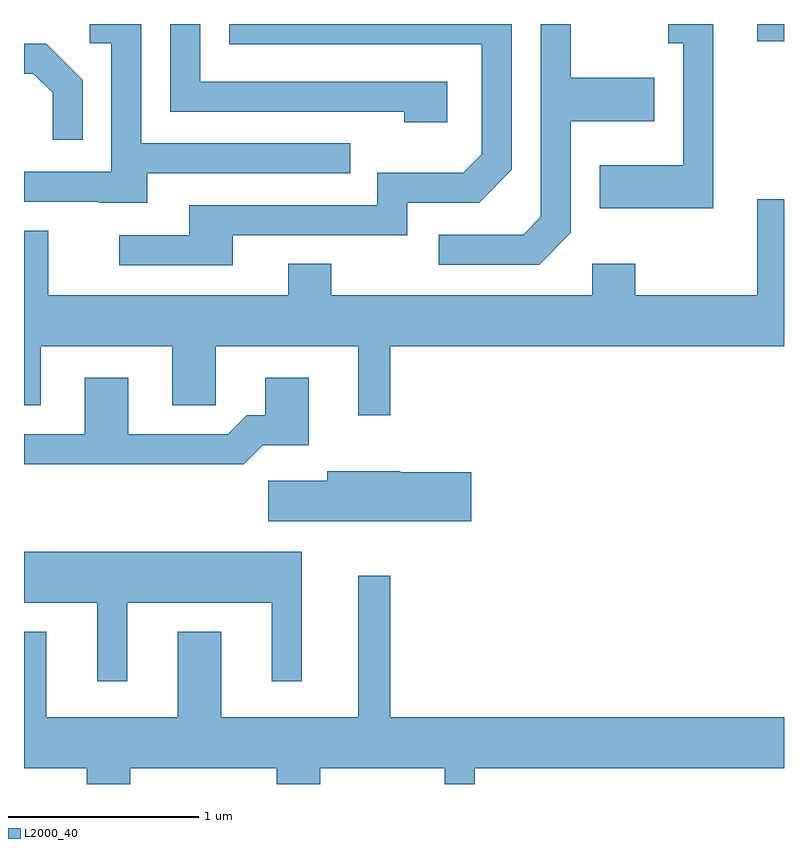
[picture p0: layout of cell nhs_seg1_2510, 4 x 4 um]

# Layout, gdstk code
import gdstk
lib = gdstk.Library(unit=1e-6, precision=1e-09)
def R(c, l, rs):  # rectangles x0, y0, x1, y1
    for r in rs: c.add(gdstk.rectangle(r[:2], r[2:], *l))
def P(c, l, *ps):  # polygons
    for p in ps: c.add(gdstk.Polygon(p, *l))
L2000_40 = (2000, 40)

nhs_seg1_2510 = lib.new_cell('nhs_seg1_2510')
R(nhs_seg1_2510, L2000_40, [(265.471,905.621,265.611,905.712)])
P(nhs_seg1_2510, L2000_40, [(262.259,904.926),(263.328,904.926),(263.328,905.084),(262.229,905.084),(262.229,905.712),(261.957,905.712),(261.957,905.611),(262.071,905.611),(262.071,904.934),(261.611,904.934),(261.611,904.776),(262.005,904.776),(262.005,904.771),(262.259,904.771)],
  [(264.489,904.614),(264.489,905.201),(264.929,905.201),(264.929,905.429),(264.489,905.429),(264.489,905.712),(264.331,905.712),(264.331,904.697),(264.239,904.604),(263.793,904.604),(263.793,904.446),(264.322,904.446)],
  [(262.709,904.601),(263.629,904.601),(263.629,904.771),(264.007,904.771),(264.179,904.944),(264.179,905.712),(262.691,905.712),(262.691,905.606),(264.021,905.606),(264.021,905.027),(263.924,904.929),(263.471,904.929),(263.471,904.759),(262.481,904.759),(262.481,904.599),(262.113,904.599),(262.113,904.441),(262.709,904.441)],
  [(265.239,905.712),(265.003,905.712),(265.003,905.611),(265.081,905.611),(265.081,904.969),(264.641,904.969),(264.641,904.741),(265.239,904.741)],
  [(263.839,905.409),(262.539,905.409),(262.539,905.712),(262.381,905.712),(262.381,905.251),(263.611,905.251),(263.611,905.196),(263.839,905.196)],
  [(261.919,905.417),(261.727,905.609),(261.611,905.609),(261.611,905.451),(261.659,905.451),(261.761,905.349),(261.761,905.103),(261.919,905.103)],
  [(263.539,904.016),(265.611,904.016),(265.611,904.789),(265.471,904.789),(265.471,904.284),(264.829,904.284),(264.829,904.449),(264.601,904.449),(264.601,904.284),(263.229,904.284),(263.229,904.449),(263.001,904.449),(263.001,904.284),(261.739,904.284),(261.739,904.624),(261.611,904.624),(261.611,903.706),(261.699,903.706),(261.699,904.016),(262.391,904.016),(262.391,903.706),(262.619,903.706),(262.619,904.016),(263.371,904.016),(263.371,903.653),(263.539,903.653)],
  [(262.867,903.496),(263.109,903.496),(263.109,903.849),(262.881,903.849),(262.881,903.654),(262.784,903.654),(262.684,903.554),(262.159,903.554),(262.159,903.849),(261.931,903.849),(261.931,903.554),(261.611,903.554),(261.611,903.396),(262.767,903.396)],
  [(263.964,903.354),(263.59,903.354),(263.59,903.359),(263.206,903.359),(263.206,903.309),(262.896,903.309),(262.896,903.096),(263.964,903.096)],
  [(262.154,902.666),(262.916,902.666),(262.916,902.253),(263.074,902.253),(263.074,902.934),(261.611,902.934),(261.611,902.666),(261.996,902.666),(261.996,902.253),(262.154,902.253)],
  [(262.169,901.796),(262.941,901.796),(262.941,901.712),(263.169,901.712),(263.169,901.796),(263.826,901.796),(263.826,901.712),(263.984,901.712),(263.984,901.796),(265.611,901.796),(265.611,902.064),(263.539,902.064),(263.539,902.808),(263.371,902.808),(263.371,902.064),(262.649,902.064),(262.649,902.514),(262.421,902.514),(262.421,902.064),(261.729,902.064),(261.729,902.514),(261.611,902.514),(261.611,901.796),(261.941,901.796),(261.941,901.712),(262.169,901.712)])

lib.write_gds('nhs_seg1_2510.gds')
